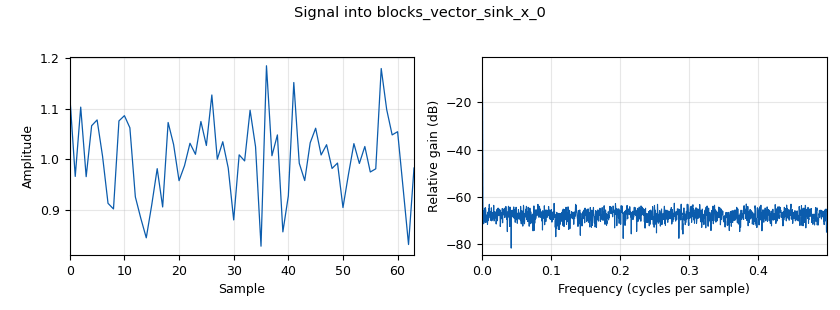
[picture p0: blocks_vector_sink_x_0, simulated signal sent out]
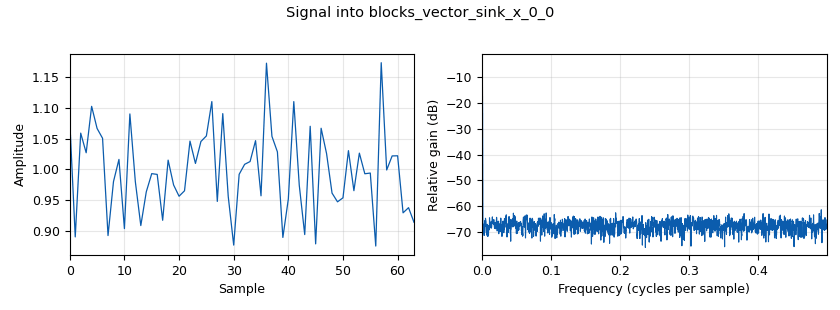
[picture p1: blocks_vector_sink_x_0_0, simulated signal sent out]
<?xml version='1.0' encoding='utf-8'?>
<?grc format='1' created='3.7.11'?>
<flow_graph>
<block>
<key>options</key>
<param><key>id</key><value>top_block</value></param>
<param><key>generate_options</key><value>qt_gui</value></param>
</block>
<block>
<key>variable_qtgui_range</key>
<param><key>id</key><value>amplitude</value></param>
<param><key>value</key><value>1</value></param>
<param><key>label</key><value>Amplitude</value></param>
<param><key>min_len</key><value>10</value></param>
<param><key>orient</key><value>Qt.Horizontal</value></param>
<param><key>start</key><value>0</value></param>
<param><key>step</key><value>0.5</value></param>
<param><key>stop</key><value>10</value></param>
</block>
<block>
<key>variable_qtgui_range</key>
<param><key>id</key><value>frequency</value></param>
<param><key>value</key><value>100</value></param>
<param><key>label</key><value>Frequency</value></param>
<param><key>min_len</key><value>10</value></param>
<param><key>orient</key><value>Qt.Horizontal</value></param>
<param><key>start</key><value>1</value></param>
<param><key>step</key><value>100</value></param>
<param><key>stop</key><value>1000</value></param>
</block>
<block>
<key>variable</key>
<param><key>id</key><value>frequency</value></param>
<param><key>_enabled</key><value>0</value></param>
<param><key>value</key><value>100</value></param>
</block>
<block>
<key>variable</key>
<param><key>id</key><value>samp_rate</value></param>
<param><key>value</key><value>32000</value></param>
</block>
<block>
<key>analog_fastnoise_source_x</key>
<param><key>id</key><value>analog_fastnoise_source_x_0</value></param>
<param><key>amp</key><value>0.1</value></param>
<param><key>_enabled</key><value>0</value></param>
<param><key>noise_type</key><value>analog.GR_GAUSSIAN</value></param>
<param><key>type</key><value>complex</value></param>
<param><key>seed</key><value>0</value></param>
<param><key>samples</key><value>8192</value></param>
</block>
<block>
<key>analog_noise_source_x</key>
<param><key>id</key><value>analog_noise_source_x_0</value></param>
<param><key>amp</key><value>0.1</value></param>
<param><key>noise_type</key><value>analog.GR_GAUSSIAN</value></param>
<param><key>type</key><value>complex</value></param>
<param><key>seed</key><value>0</value></param>
</block>
<block>
<key>analog_sig_source_x</key>
<param><key>id</key><value>analog_sig_source_x_0</value></param>
<param><key>amp</key><value>amplitude</value></param>
<param><key>freq</key><value>frequency</value></param>
<param><key>offset</key><value>0</value></param>
<param><key>type</key><value>complex</value></param>
<param><key>samp_rate</key><value>samp_rate</value></param>
<param><key>waveform</key><value>analog.GR_COS_WAVE</value></param>
</block>
<block>
<key>analog_sig_source_x</key>
<param><key>id</key><value>analog_sig_source_x_0_0</value></param>
<param><key>amp</key><value>amplitude</value></param>
<param><key>freq</key><value>frequency</value></param>
<param><key>offset</key><value>0</value></param>
<param><key>type</key><value>complex</value></param>
<param><key>samp_rate</key><value>samp_rate</value></param>
<param><key>waveform</key><value>analog.GR_COS_WAVE</value></param>
</block>
<block>
<key>blocks_add_xx</key>
<param><key>id</key><value>blocks_add_xx_0</value></param>
<param><key>type</key><value>complex</value></param>
</block>
<block>
<key>blocks_add_xx</key>
<param><key>id</key><value>blocks_add_xx_0_0</value></param>
<param><key>type</key><value>complex</value></param>
</block>
<block>
<key>blocks_complex_to_magphase</key>
<param><key>id</key><value>blocks_complex_to_magphase_0_0</value></param>
</block>
<block>
<key>blocks_complex_to_magphase</key>
<param><key>id</key><value>blocks_complex_to_magphase_0_0_0</value></param>
</block>
<block>
<key>blocks_complex_to_magphase</key>
<param><key>id</key><value>blocks_complex_to_magphase_0_0_1</value></param>
</block>
<block>
<key>blocks_complex_to_real</key>
<param><key>id</key><value>blocks_complex_to_real_0</value></param>
</block>
<block>
<key>blocks_complex_to_real</key>
<param><key>id</key><value>blocks_complex_to_real_0_0</value></param>
</block>
<block>
<key>blocks_complex_to_real</key>
<param><key>id</key><value>blocks_complex_to_real_0_1</value></param>
</block>
<block>
<key>blocks_delay</key>
<param><key>id</key><value>blocks_delay_0</value></param>
<param><key>delay</key><value>50</value></param>
<param><key>type</key><value>complex</value></param>
</block>
<block>
<key>blocks_throttle</key>
<param><key>id</key><value>blocks_throttle_0_0</value></param>
<param><key>samples_per_second</key><value>samp_rate</value></param>
<param><key>type</key><value>complex</value></param>
</block>
<block>
<key>blocks_throttle</key>
<param><key>id</key><value>blocks_throttle_0_0_0</value></param>
<param><key>samples_per_second</key><value>samp_rate</value></param>
<param><key>type</key><value>complex</value></param>
</block>
<block>
<key>blocks_vector_sink_x</key>
<param><key>id</key><value>blocks_vector_sink_x_0</value></param>
<param><key>type</key><value>float</value></param>
</block>
<block>
<key>blocks_vector_sink_x</key>
<param><key>id</key><value>blocks_vector_sink_x_0_0</value></param>
<param><key>type</key><value>float</value></param>
</block>
<block>
<key>blocks_vector_sink_x</key>
<param><key>id</key><value>blocks_vector_sink_x_0_1</value></param>
<param><key>type</key><value>float</value></param>
</block>
<block>
<key>phase_sync</key>
<param><key>id</key><value>phase_sync_0</value></param>
</block>
<block>
<key>qtgui_time_sink_x</key>
<param><key>id</key><value>qtgui_time_sink_x_0</value></param>
<param><key>autoscale</key><value>True</value></param>
<param><key>ctrlpanel</key><value>True</value></param>
<param><key>entags</key><value>False</value></param>
<param><key>grid</key><value>True</value></param>
<param><key>color1</key><value>"blue"</value></param>
<param><key>label1</key><value>Original Signal</value></param>
<param><key>color2</key><value>"red"</value></param>
<param><key>label2</key><value>Delayed Signal</value></param>
<param><key>color3</key><value>"green"</value></param>
<param><key>label3</key><value>Corrected Signal</value></param>
<param><key>nconnections</key><value>3</value></param>
<param><key>size</key><value>512</value></param>
<param><key>srate</key><value>samp_rate</value></param>
<param><key>tr_mode</key><value>qtgui.TRIG_MODE_AUTO</value></param>
<param><key>type</key><value>float</value></param>
<param><key>ymax</key><value>1.5</value></param>
<param><key>ymin</key><value>-1.5</value></param>
</block>
<block>
<key>qtgui_time_sink_x</key>
<param><key>id</key><value>qtgui_time_sink_x_0_0</value></param>
<param><key>ctrlpanel</key><value>True</value></param>
<param><key>entags</key><value>False</value></param>
<param><key>grid</key><value>True</value></param>
<param><key>color1</key><value>"blue"</value></param>
<param><key>label1</key><value>Original Signal</value></param>
<param><key>color2</key><value>"red"</value></param>
<param><key>label2</key><value>Delayed Signal</value></param>
<param><key>color3</key><value>"green"</value></param>
<param><key>label3</key><value>Corrected Signal</value></param>
<param><key>nconnections</key><value>3</value></param>
<param><key>size</key><value>512</value></param>
<param><key>srate</key><value>samp_rate</value></param>
<param><key>tr_mode</key><value>qtgui.TRIG_MODE_AUTO</value></param>
<param><key>type</key><value>float</value></param>
<param><key>ymax</key><value>4</value></param>
<param><key>ymin</key><value>-4</value></param>
</block>
<connection><source_block_id>analog_fastnoise_source_x_0</source_block_id><sink_block_id>blocks_add_xx_0</sink_block_id><source_key>0</source_key><sink_key>1</sink_key></connection>
<connection><source_block_id>analog_fastnoise_source_x_0</source_block_id><sink_block_id>blocks_add_xx_0_0</sink_block_id><source_key>0</source_key><sink_key>0</sink_key></connection>
<connection><source_block_id>analog_noise_source_x_0</source_block_id><sink_block_id>blocks_add_xx_0</sink_block_id><source_key>0</source_key><sink_key>1</sink_key></connection>
<connection><source_block_id>analog_noise_source_x_0</source_block_id><sink_block_id>blocks_add_xx_0_0</sink_block_id><source_key>0</source_key><sink_key>0</sink_key></connection>
<connection><source_block_id>analog_sig_source_x_0</source_block_id><sink_block_id>blocks_throttle_0_0</sink_block_id><source_key>0</source_key><sink_key>0</sink_key></connection>
<connection><source_block_id>analog_sig_source_x_0_0</source_block_id><sink_block_id>blocks_delay_0</sink_block_id><source_key>0</source_key><sink_key>0</sink_key></connection>
<connection><source_block_id>blocks_add_xx_0</source_block_id><sink_block_id>blocks_complex_to_magphase_0_0</sink_block_id><source_key>0</source_key><sink_key>0</sink_key></connection>
<connection><source_block_id>blocks_add_xx_0</source_block_id><sink_block_id>blocks_complex_to_real_0</sink_block_id><source_key>0</source_key><sink_key>0</sink_key></connection>
<connection><source_block_id>blocks_add_xx_0</source_block_id><sink_block_id>phase_sync_0</sink_block_id><source_key>0</source_key><sink_key>0</sink_key></connection>
<connection><source_block_id>blocks_add_xx_0_0</source_block_id><sink_block_id>blocks_complex_to_magphase_0_0_0</sink_block_id><source_key>0</source_key><sink_key>0</sink_key></connection>
<connection><source_block_id>blocks_add_xx_0_0</source_block_id><sink_block_id>blocks_complex_to_real_0_0</sink_block_id><source_key>0</source_key><sink_key>0</sink_key></connection>
<connection><source_block_id>blocks_add_xx_0_0</source_block_id><sink_block_id>phase_sync_0</sink_block_id><source_key>0</source_key><sink_key>1</sink_key></connection>
<connection><source_block_id>blocks_complex_to_magphase_0_0</source_block_id><sink_block_id>blocks_vector_sink_x_0</sink_block_id><source_key>0</source_key><sink_key>0</sink_key></connection>
<connection><source_block_id>blocks_complex_to_magphase_0_0</source_block_id><sink_block_id>qtgui_time_sink_x_0_0</sink_block_id><source_key>1</source_key><sink_key>0</sink_key></connection>
<connection><source_block_id>blocks_complex_to_magphase_0_0_0</source_block_id><sink_block_id>blocks_vector_sink_x_0_0</sink_block_id><source_key>0</source_key><sink_key>0</sink_key></connection>
<connection><source_block_id>blocks_complex_to_magphase_0_0_0</source_block_id><sink_block_id>qtgui_time_sink_x_0_0</sink_block_id><source_key>1</source_key><sink_key>1</sink_key></connection>
<connection><source_block_id>blocks_complex_to_magphase_0_0_1</source_block_id><sink_block_id>blocks_vector_sink_x_0_1</sink_block_id><source_key>0</source_key><sink_key>0</sink_key></connection>
<connection><source_block_id>blocks_complex_to_magphase_0_0_1</source_block_id><sink_block_id>qtgui_time_sink_x_0_0</sink_block_id><source_key>1</source_key><sink_key>2</sink_key></connection>
<connection><source_block_id>blocks_complex_to_real_0</source_block_id><sink_block_id>qtgui_time_sink_x_0</sink_block_id><source_key>0</source_key><sink_key>0</sink_key></connection>
<connection><source_block_id>blocks_complex_to_real_0_0</source_block_id><sink_block_id>qtgui_time_sink_x_0</sink_block_id><source_key>0</source_key><sink_key>1</sink_key></connection>
<connection><source_block_id>blocks_complex_to_real_0_1</source_block_id><sink_block_id>qtgui_time_sink_x_0</sink_block_id><source_key>0</source_key><sink_key>2</sink_key></connection>
<connection><source_block_id>blocks_delay_0</source_block_id><sink_block_id>blocks_throttle_0_0_0</sink_block_id><source_key>0</source_key><sink_key>0</sink_key></connection>
<connection><source_block_id>blocks_throttle_0_0</source_block_id><sink_block_id>blocks_add_xx_0</sink_block_id><source_key>0</source_key><sink_key>0</sink_key></connection>
<connection><source_block_id>blocks_throttle_0_0_0</source_block_id><sink_block_id>blocks_add_xx_0_0</sink_block_id><source_key>0</source_key><sink_key>1</sink_key></connection>
<connection><source_block_id>phase_sync_0</source_block_id><sink_block_id>blocks_complex_to_magphase_0_0_1</sink_block_id><source_key>0</source_key><sink_key>0</sink_key></connection>
<connection><source_block_id>phase_sync_0</source_block_id><sink_block_id>blocks_complex_to_real_0_1</sink_block_id><source_key>0</source_key><sink_key>0</sink_key></connection>
</flow_graph>
